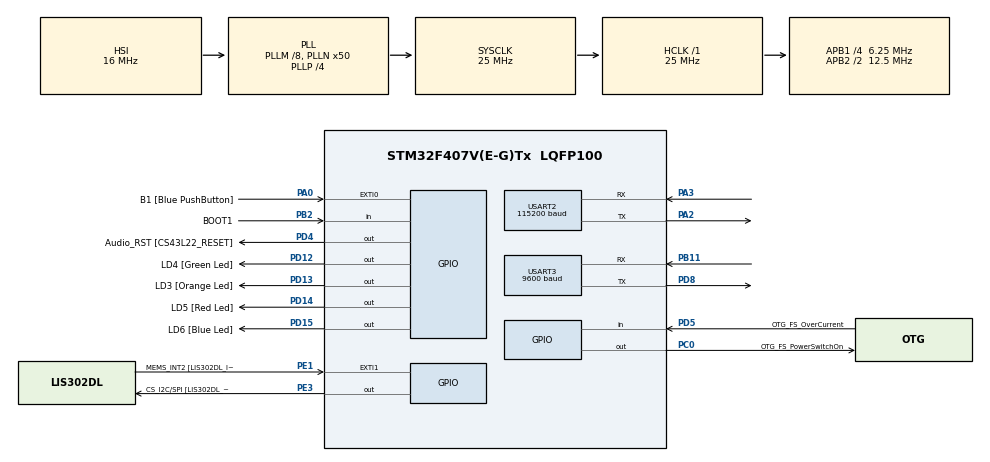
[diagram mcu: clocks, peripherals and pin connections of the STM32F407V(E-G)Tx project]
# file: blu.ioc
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Mcu.Family=STM32F4
Mcu.Name=STM32F407V(E-G)Tx
Mcu.Package=LQFP100
NVIC.PriorityGroup=NVIC_PRIORITYGROUP_0
PA0-WKUP.GPIO_Label=B1 [Blue PushButton]
PA0-WKUP.Signal=GPXTI0
PA10.GPIO_Label=OTG_FS_ID
PA10.GPIO_Mode=GPIO_MODE_AF_PP
PA10.GPIO_PuPd=GPIO_NOPULL
PA10.GPIO_Speed=GPIO_SPEED_FREQ_LOW
PA10.Signal=USB_OTG_FS_ID
PA11.GPIO_Label=OTG_FS_DM
PA11.GPIO_Mode=GPIO_MODE_AF_PP
PA11.GPIO_PuPd=GPIO_NOPULL
PA11.GPIO_Speed=GPIO_SPEED_FREQ_LOW
PA11.Signal=USB_OTG_FS_DM
PA12.GPIO_Label=OTG_FS_DP
PA12.GPIO_Mode=GPIO_MODE_AF_PP
PA12.GPIO_PuPd=GPIO_NOPULL
PA12.GPIO_Speed=GPIO_SPEED_FREQ_LOW
PA12.Signal=USB_OTG_FS_DP
PA13.GPIO_Label=SWDIO
PA13.Signal=SYS_JTMS-SWDIO
PA14.GPIO_Label=SWCLK
PA14.Signal=SYS_JTCK-SWCLK
PA2.Mode=Asynchronous
PA2.Signal=USART2_TX
PA3.Mode=Asynchronous
PA3.Signal=USART2_RX
PA4.GPIO_Label=I2S3_WS [CS43L22_LRCK]
PA4.GPIO_Mode=GPIO_MODE_AF_PP
PA4.GPIO_PuPd=GPIO_NOPULL
PA4.GPIO_Speed=GPIO_SPEED_FREQ_LOW
PA4.Signal=I2S3_WS
PA5.GPIO_Label=SPI1_SCK [LIS302DL_SCL/SPC]
PA5.GPIO_Mode=GPIO_MODE_AF_PP
PA5.GPIO_PuPd=GPIO_NOPULL
PA5.GPIO_Speed=GPIO_SPEED_FREQ_LOW
PA5.Signal=SPI1_SCK
PA6.GPIO_Label=SPI1_MISO [LIS302DL_SDO]
PA6.GPIO_Mode=GPIO_MODE_AF_PP
PA6.GPIO_PuPd=GPIO_NOPULL
PA6.GPIO_Speed=GPIO_SPEED_FREQ_LOW
PA6.Signal=SPI1_MISO
PA7.GPIO_Label=SPI1_MOSI [LIS302DL_SDA/SDI/SDO]
PA7.GPIO_Mode=GPIO_MODE_AF_PP
PA7.GPIO_PuPd=GPIO_NOPULL
PA7.GPIO_Speed=GPIO_SPEED_FREQ_LOW
PA7.Signal=SPI1_MOSI
PA9.GPIO_Label=VBUS_FS
PA9.GPIO_Mode=GPIO_MODE_INPUT
PA9.GPIO_PuPd=GPIO_NOPULL
PA9.Signal=USB_OTG_FS_VBUS
PB10.GPIO_Label=CLK_IN [MP45DT02_CLK]
PB10.GPIO_Mode=GPIO_MODE_AF_PP
PB10.GPIO_PuPd=GPIO_NOPULL
PB10.GPIO_Speed=GPIO_SPEED_FREQ_LOW
PB10.Signal=I2S2_CK
PB11.Mode=Asynchronous
PB11.Signal=USART3_RX
PB2.GPIO_Label=BOOT1
PB2.GPIO_Mode=GPIO_MODE_INPUT
PB2.GPIO_PuPd=GPIO_NOPULL
PB2.Signal=GPIO_Input
PB3.GPIO_Label=SWO
PB3.Signal=SYS_JTDO-SWO
PB6.GPIO_Label=Audio_SCL [CS43L22_SCL]
PB6.GPIO_Mode=GPIO_MODE_AF_OD
PB6.GPIO_PuPd=GPIO_NOPULL
PB6.GPIO_Speed=GPIO_SPEED_FREQ_LOW
PB6.Signal=I2C1_SCL
PB9.GPIO_Label=Audio_SDA [CS43L22_SDA]
PB9.GPIO_Mode=GPIO_MODE_AF_OD
PB9.GPIO_PuPd=GPIO_NOPULL
PB9.GPIO_Speed=GPIO_SPEED_FREQ_LOW
PB9.Signal=I2C1_SDA
PC0.GPIO_Label=OTG_FS_PowerSwitchOn
PC0.GPIO_PuPd=GPIO_NOPULL
PC0.GPIO_Speed=GPIO_SPEED_FREQ_LOW
PC0.PinState=GPIO_PIN_SET
PC0.Signal=GPIO_Output
PC10.GPIO_Label=I2S3_SCK [CS43L22_SCLK]
PC10.GPIO_Mode=GPIO_MODE_AF_PP
PC10.GPIO_PuPd=GPIO_NOPULL
PC10.GPIO_Speed=GPIO_SPEED_FREQ_LOW
PC10.Signal=I2S3_CK
PC12.GPIO_Label=I2S3_SD [CS43L22_SDIN]
PC12.GPIO_Mode=GPIO_MODE_AF_PP
PC12.GPIO_PuPd=GPIO_NOPULL
PC12.GPIO_Speed=GPIO_SPEED_FREQ_LOW
PC12.Signal=I2S3_SD
PC14-OSC32_IN.GPIO_Label=PC14-OSC32_IN
PC14-OSC32_IN.Signal=RCC_OSC32_IN
PC15-OSC32_OUT.GPIO_Label=PC15-OSC32_OUT
PC15-OSC32_OUT.Signal=RCC_OSC32_OUT
PC3.GPIO_Label=PDM_OUT [MP45DT02_DOUT]
PC3.GPIO_Mode=GPIO_MODE_AF_PP
PC3.GPIO_PuPd=GPIO_NOPULL
PC3.GPIO_Speed=GPIO_SPEED_FREQ_LOW
PC3.Signal=I2S2_SD
PC7.GPIO_Label=I2S3_MCK [CS43L22_MCLK]
PC7.GPIO_Mode=GPIO_MODE_AF_PP
PC7.GPIO_PuPd=GPIO_NOPULL
PC7.GPIO_Speed=GPIO_SPEED_FREQ_LOW
PC7.Signal=I2S3_MCK
PD12.GPIO_Label=LD4 [Green Led]
PD12.GPIO_PuPd=GPIO_NOPULL
PD12.GPIO_Speed=GPIO_SPEED_FREQ_LOW
PD12.Signal=GPIO_Output
PD13.GPIO_Label=LD3 [Orange Led]
PD13.GPIO_PuPd=GPIO_NOPULL
PD13.GPIO_Speed=GPIO_SPEED_FREQ_LOW
PD13.Signal=GPIO_Output
PD14.GPIO_Label=LD5 [Red Led]
PD14.GPIO_PuPd=GPIO_NOPULL
PD14.GPIO_Speed=GPIO_SPEED_FREQ_LOW
PD14.Signal=GPIO_Output
PD15.GPIO_Label=LD6 [Blue Led]
PD15.GPIO_PuPd=GPIO_NOPULL
PD15.GPIO_Speed=GPIO_SPEED_FREQ_LOW
PD15.Signal=GPIO_Output
PD4.GPIO_Label=Audio_RST [CS43L22_RESET]
PD4.GPIO_PuPd=GPIO_NOPULL
PD4.GPIO_Speed=GPIO_SPEED_FREQ_LOW
PD4.Signal=GPIO_Output
PD5.GPIO_Label=OTG_FS_OverCurrent
PD5.GPIO_Mode=GPIO_MODE_INPUT
PD5.GPIO_PuPd=GPIO_NOPULL
PD5.Signal=GPIO_Input
PD8.Mode=Asynchronous
PD8.Signal=USART3_TX
PE1.GPIO_Label=MEMS_INT2 [LIS302DL_INT2]
PE1.GPIO_ModeDefaultEXTI=GPIO_MODE_EVT_RISING
PE1.GPIO_PuPd=GPIO_NOPULL
PE1.Signal=GPXTI1
PE3.GPIO_Label=CS_I2C/SPI [LIS302DL_CS_I2C/SPI]
PE3.GPIO_PuPd=GPIO_NOPULL
PE3.GPIO_Speed=GPIO_SPEED_FREQ_LOW
PE3.Signal=GPIO_Output
PH0-OSC_IN.GPIO_Label=PH0-OSC_IN
PH0-OSC_IN.Signal=RCC_OSC_IN
PH1-OSC_OUT.GPIO_Label=PH1-OSC_OUT
PH1-OSC_OUT.Signal=RCC_OSC_OUT
ProjectManager.HeapSize=0x200
ProjectManager.StackSize=0x400
ProjectManager.TargetToolchain=SW4STM32
RCC.48MHZClocksFreq_Value=14285714.285714285
RCC.AHBFreq_Value=25000000
RCC.APB1CLKDivider=RCC_HCLK_DIV4
RCC.APB1Freq_Value=6250000
RCC.APB1TimFreq_Value=12500000
RCC.APB2CLKDivider=RCC_HCLK_DIV2
RCC.APB2Freq_Value=12500000
RCC.APB2TimFreq_Value=25000000
RCC.CortexFreq_Value=25000000
RCC.HCLKFreq_Value=25000000
RCC.HSE_VALUE=8000000
RCC.HSI_VALUE=16000000
RCC.LSE_VALUE=32768
RCC.PLLM=8
RCC.PLLN=50
RCC.PLLP=RCC_PLLP_DIV4
RCC.PLLQ=7
RCC.SYSCLKFreq_VALUE=25000000
RCC.SYSCLKSource=RCC_SYSCLKSOURCE_PLLCLK
RCC.VCOOutputFreq_Value=100000000
USART2.BaudRate=115200
USART2.VirtualMode=VM_ASYNC
USART3.BaudRate=9600
USART3.VirtualMode=VM_ASYNC
board=STM32F4DISCOVERY

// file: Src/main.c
/**
  ******************************************************************************
  * File Name          : main.c
  * Description        : Main program body
  ******************************************************************************
  ** This notice applies to any and all portions of this file
  * that are not between comment pairs USER CODE BEGIN and
  * USER CODE END. Other portions of this file, whether
  * inserted by the user or by software development tools
  * are owned by their respective copyright owners.
  *
  * COPYRIGHT(c) 2017 STMicroelectronics
  *
  * Redistribution and use in source and binary forms, with or without modification,
  * are permitted provided that the following conditions are met:
  *   1. Redistributions of source code must retain the above copyright notice,
  *      this list of conditions and the following disclaimer.
  *   2. Redistributions in binary form must reproduce the above copyright notice,
  *      this list of conditions and the following disclaimer in the documentation
  *      and/or other materials provided with the distribution.
  *   3. Neither the name of STMicroelectronics nor the names of its contributors
  *      may be used to endorse or promote products derived from this software
  *      without specific prior written permission.
  *
  * THIS SOFTWARE IS PROVIDED BY THE COPYRIGHT HOLDERS AND CONTRIBUTORS "AS IS"
  * AND ANY EXPRESS OR IMPLIED WARRANTIES, INCLUDING, BUT NOT LIMITED TO, THE
  * IMPLIED WARRANTIES OF MERCHANTABILITY AND FITNESS FOR A PARTICULAR PURPOSE ARE
  * DISCLAIMED. IN NO EVENT SHALL THE COPYRIGHT HOLDER OR CONTRIBUTORS BE LIABLE
  * FOR ANY DIRECT, INDIRECT, INCIDENTAL, SPECIAL, EXEMPLARY, OR CONSEQUENTIAL
  * DAMAGES (INCLUDING, BUT NOT LIMITED TO, PROCUREMENT OF SUBSTITUTE GOODS OR
  * SERVICES; LOSS OF USE, DATA, OR PROFITS; OR BUSINESS INTERRUPTION) HOWEVER
  * CAUSED AND ON ANY THEORY OF LIABILITY, WHETHER IN CONTRACT, STRICT LIABILITY,
  * OR TORT (INCLUDING NEGLIGENCE OR OTHERWISE) ARISING IN ANY WAY OUT OF THE USE
  * OF THIS SOFTWARE, EVEN IF ADVISED OF THE POSSIBILITY OF SUCH DAMAGE.
  *
  ******************************************************************************
  */

#include "main.h"
#include "stm32f4xx_hal.h"

UART_HandleTypeDef huart2;
UART_HandleTypeDef huart3;

/* USER CODE BEGIN PV */
/* Private variables ---------------------------------------------------------*/

/* USER CODE END PV */

void SystemClock_Config(void);
static void MX_GPIO_Init(void);
static void MX_USART2_UART_Init(void);
static void MX_USART3_UART_Init(void);

/* USER CODE BEGIN PFP */
/* Private function prototypes -----------------------------------------------*/

/* USER CODE END PFP */

int main(void)
{

  /* MCU Configuration----------------------------------------------------------*/

  /* Reset of all peripherals, Initializes the Flash interface and the Systick. */
  HAL_Init();

  /* Configure the system clock */
  SystemClock_Config();

  /* Initialize all configured peripherals */
  MX_GPIO_Init();
  MX_USART2_UART_Init();
  MX_USART3_UART_Init();

  /* USER CODE BEGIN 2 */
  char* AT_CMD;
  char AT_STATUS[] = "AT";
  char OPEN_DOOR[] = "OPEN";
  char CLOSE_DOOR[] = "CLOSE";
  char FAIL[] = "FAIL";
  char buff = 0;
  char buff2 = '0';

  /* USER CODE END 2 */

  /* Infinite loop */
  while (1)
  {

  /* USER CODE BEGIN 3 */

	  /*HAL_UART_Receive(&huart3, &buff, 100, 100);		//instruction from nodemcu

	  if(strcmp(buff,"DELETE")==0) {
		  AT_CMD = "AT+RMAAD";							//Delete All Authenticated Device
	  } else if(strcmp(buff,"COUNT")==0) {
		  AT_CMD = "AT+ADCN?";							//return Authenticated Device Count
	  } else if(strcmp(buff,"LAST")==0) {
		  AT_CMD = "AT+MRAD?";							//return Most Recently Used Authenticated Device
	  } else if(strcmp(buff,"GETPW")==0) {
		  AT_CMD = "AT+ PSWD?";							//return current password
	  } else if(strcmp(buff,"SETPW")==0) {
	  	  HAL_UART_Receive(&huart3, &buff, 100, 100);
		  AT_CMD = "AT+ PSWD=" + buff;					//set password to buff
	  }  else {}

	  HAL_UART_Transmit(&huart2, AT_CMD, 100, 100);
	  HAL_UART_Receive(&huart2, &buff2, 100, 100);
	  HAL_UART_Transmit(&huart3, buff2, 100, 100);*/

	  HAL_GPIO_TogglePin(GPIOD, GPIO_PIN_13);

	  if(HAL_UART_Receive(&huart3, &buff, 1, 100)==HAL_OK)
	  {
		  HAL_UART_Transmit(&huart2, OPEN_DOOR, 4, 100);
		  HAL_GPIO_WritePin(GPIOD, GPIO_PIN_12, GPIO_PIN_SET);		//green led (unlocked)
		  HAL_GPIO_WritePin(GPIOD, GPIO_PIN_14, GPIO_PIN_RESET);
		  HAL_Delay(5000);
	  }
	  else
	  {
		  HAL_UART_Transmit(&huart2, CLOSE_DOOR, 5, 100);
		  HAL_GPIO_WritePin(GPIOD, GPIO_PIN_12, GPIO_PIN_RESET);	//red led (locked)
		  HAL_GPIO_WritePin(GPIOD, GPIO_PIN_14, GPIO_PIN_SET);
	  }
	  //HAL_UART_Transmit(&huart2, buff, 1, 100);

	  HAL_Delay(1000);

	  /*if(HAL_UART_Transmit(&huart3, AT_STATUS, 2, 100)==HAL_OK) {
		  HAL_GPIO_TogglePin(GPIOD, GPIO_PIN_13);
		  if(HAL_UART_Receive(&huart3, &buff2[0], 10, 100)==HAL_OK) {
			  HAL_UART_Transmit(&huart2, buff2[0], 10, 100);
			  HAL_GPIO_WritePin(GPIOD, GPIO_PIN_15, GPIO_PIN_SET);
		  }
		  else {
			  HAL_GPIO_WritePin(GPIOD, GPIO_PIN_15, GPIO_PIN_RESET);
		  }
		  //if(strcmp(buff2,"OK")==0) {
		  bif(buff2=='K') {
			  HAL_GPIO_WritePin(GPIOD, GPIO_PIN_12, GPIO_PIN_SET);		//paired => green led (unlocked)
			  HAL_GPIO_WritePin(GPIOD, GPIO_PIN_14, GPIO_PIN_RESET);
			  buff2 = '0';
		  } else {
			  HAL_GPIO_WritePin(GPIOD, GPIO_PIN_12, GPIO_PIN_RESET);	//not paired => red led (locked)
			  HAL_GPIO_WritePin(GPIOD, GPIO_PIN_14, GPIO_PIN_SET);
		  }
	  }*/

  }
  /* USER CODE END 3 */

}

/** System Clock Configuration
*/
void SystemClock_Config(void)
{

  RCC_OscInitTypeDef RCC_OscInitStruct;
  RCC_ClkInitTypeDef RCC_ClkInitStruct;

    /**Configure the main internal regulator output voltage
    */
  __HAL_RCC_PWR_CLK_ENABLE();

  __HAL_PWR_VOLTAGESCALING_CONFIG(PWR_REGULATOR_VOLTAGE_SCALE1);

    /**Initializes the CPU, AHB and APB busses clocks
    */
  RCC_OscInitStruct.OscillatorType = RCC_OSCILLATORTYPE_HSI;
  RCC_OscInitStruct.HSIState = RCC_HSI_ON;
  RCC_OscInitStruct.HSICalibrationValue = 16;
  RCC_OscInitStruct.PLL.PLLState = RCC_PLL_ON;
  RCC_OscInitStruct.PLL.PLLSource = RCC_PLLSOURCE_HSI;
  RCC_OscInitStruct.PLL.PLLM = 8;
  RCC_OscInitStruct.PLL.PLLN = 50;
  RCC_OscInitStruct.PLL.PLLP = RCC_PLLP_DIV4;
  RCC_OscInitStruct.PLL.PLLQ = 7;
  if (HAL_RCC_OscConfig(&RCC_OscInitStruct) != HAL_OK)
  {
    _Error_Handler(__FILE__, __LINE__);
  }

    /**Initializes the CPU, AHB and APB busses clocks
    */
  RCC_ClkInitStruct.ClockType = RCC_CLOCKTYPE_HCLK|RCC_CLOCKTYPE_SYSCLK
                              |RCC_CLOCKTYPE_PCLK1|RCC_CLOCKTYPE_PCLK2;
  RCC_ClkInitStruct.SYSCLKSource = RCC_SYSCLKSOURCE_PLLCLK;
  RCC_ClkInitStruct.AHBCLKDivider = RCC_SYSCLK_DIV1;
  RCC_ClkInitStruct.APB1CLKDivider = RCC_HCLK_DIV4;
  RCC_ClkInitStruct.APB2CLKDivider = RCC_HCLK_DIV2;

  if (HAL_RCC_ClockConfig(&RCC_ClkInitStruct, FLASH_LATENCY_0) != HAL_OK)
  {
    _Error_Handler(__FILE__, __LINE__);
  }

    /**Configure the Systick interrupt time
    */
  HAL_SYSTICK_Config(HAL_RCC_GetHCLKFreq()/1000);

    /**Configure the Systick
    */
  HAL_SYSTICK_CLKSourceConfig(SYSTICK_CLKSOURCE_HCLK);

  /* SysTick_IRQn interrupt configuration */
  HAL_NVIC_SetPriority(SysTick_IRQn, 0, 0);
}

/* USART2 init function */
static void MX_USART2_UART_Init(void)
{

  huart2.Instance = USART2;
  huart2.Init.BaudRate = 115200;
  huart2.Init.WordLength = UART_WORDLENGTH_8B;
  huart2.Init.StopBits = UART_STOPBITS_1;
  huart2.Init.Parity = UART_PARITY_NONE;
  huart2.Init.Mode = UART_MODE_TX_RX;
  huart2.Init.HwFlowCtl = UART_HWCONTROL_NONE;
  huart2.Init.OverSampling = UART_OVERSAMPLING_16;
  if (HAL_UART_Init(&huart2) != HAL_OK)
  {
    _Error_Handler(__FILE__, __LINE__);
  }

}

/* USART3 init function */
static void MX_USART3_UART_Init(void)
{

  huart3.Instance = USART3;
  huart3.Init.BaudRate = 9600;
  huart3.Init.WordLength = UART_WORDLENGTH_8B;
  huart3.Init.StopBits = UART_STOPBITS_1;
  huart3.Init.Parity = UART_PARITY_NONE;
  huart3.Init.Mode = UART_MODE_TX_RX;
  huart3.Init.HwFlowCtl = UART_HWCONTROL_NONE;
  huart3.Init.OverSampling = UART_OVERSAMPLING_16;
  if (HAL_UART_Init(&huart3) != HAL_OK)
  {
    _Error_Handler(__FILE__, __LINE__);
  }

}

/** Configure pins as
        * Analog
        * Input
        * Output
        * EVENT_OUT
        * EXTI
     PC3   ------> I2S2_SD
     PA4   ------> I2S3_WS
     PA5   ------> SPI1_SCK
     PA6   ------> SPI1_MISO
     PA7   ------> SPI1_MOSI
     PB10   ------> I2S2_CK
     PC7   ------> I2S3_MCK
     PA9   ------> USB_OTG_FS_VBUS
     PA10   ------> USB_OTG_FS_ID
     PA11   ------> USB_OTG_FS_DM
     PA12   ------> USB_OTG_FS_DP
     PC10   ------> I2S3_CK
     PC12   ------> I2S3_SD
     PB6   ------> I2C1_SCL
     PB9   ------> I2C1_SDA
*/
static void MX_GPIO_Init(void)
{

  GPIO_InitTypeDef GPIO_InitStruct;

  /* GPIO Ports Clock Enable */
  __HAL_RCC_GPIOE_CLK_ENABLE();
  __HAL_RCC_GPIOC_CLK_ENABLE();
  __HAL_RCC_GPIOH_CLK_ENABLE();
  __HAL_RCC_GPIOA_CLK_ENABLE();
  __HAL_RCC_GPIOB_CLK_ENABLE();
  __HAL_RCC_GPIOD_CLK_ENABLE();

  /*Configure GPIO pin Output Level */
  HAL_GPIO_WritePin(CS_I2C_SPI_GPIO_Port, CS_I2C_SPI_Pin, GPIO_PIN_RESET);

  /*Configure GPIO pin Output Level */
  HAL_GPIO_WritePin(OTG_FS_PowerSwitchOn_GPIO_Port, OTG_FS_PowerSwitchOn_Pin, GPIO_PIN_SET);

  /*Configure GPIO pin Output Level */
  HAL_GPIO_WritePin(GPIOD, LD4_Pin|LD3_Pin|LD5_Pin|LD6_Pin
                          |Audio_RST_Pin, GPIO_PIN_RESET);

  /*Configure GPIO pin : CS_I2C_SPI_Pin */
  GPIO_InitStruct.Pin = CS_I2C_SPI_Pin;
  GPIO_InitStruct.Mode = GPIO_MODE_OUTPUT_PP;
  GPIO_InitStruct.Pull = GPIO_NOPULL;
  GPIO_InitStruct.Speed = GPIO_SPEED_FREQ_LOW;
  HAL_GPIO_Init(CS_I2C_SPI_GPIO_Port, &GPIO_InitStruct);

  /*Configure GPIO pin : OTG_FS_PowerSwitchOn_Pin */
  GPIO_InitStruct.Pin = OTG_FS_PowerSwitchOn_Pin;
  GPIO_InitStruct.Mode = GPIO_MODE_OUTPUT_PP;
  GPIO_InitStruct.Pull = GPIO_NOPULL;
  GPIO_InitStruct.Speed = GPIO_SPEED_FREQ_LOW;
  HAL_GPIO_Init(OTG_FS_PowerSwitchOn_GPIO_Port, &GPIO_InitStruct);

  /*Configure GPIO pin : PDM_OUT_Pin */
  GPIO_InitStruct.Pin = PDM_OUT_Pin;
  GPIO_InitStruct.Mode = GPIO_MODE_AF_PP;
  GPIO_InitStruct.Pull = GPIO_NOPULL;
  GPIO_InitStruct.Speed = GPIO_SPEED_FREQ_LOW;
  GPIO_InitStruct.Alternate = GPIO_AF5_SPI2;
  HAL_GPIO_Init(PDM_OUT_GPIO_Port, &GPIO_InitStruct);

  /*Configure GPIO pin : B1_Pin */
  GPIO_InitStruct.Pin = B1_Pin;
  GPIO_InitStruct.Mode = GPIO_MODE_IT_RISING;
  GPIO_InitStruct.Pull = GPIO_NOPULL;
  HAL_GPIO_Init(B1_GPIO_Port, &GPIO_InitStruct);

  /*Configure GPIO pin : I2S3_WS_Pin */
  GPIO_InitStruct.Pin = I2S3_WS_Pin;
  GPIO_InitStruct.Mode = GPIO_MODE_AF_PP;
  GPIO_InitStruct.Pull = GPIO_NOPULL;
  GPIO_InitStruct.Speed = GPIO_SPEED_FREQ_LOW;
  GPIO_InitStruct.Alternate = GPIO_AF6_SPI3;
  HAL_GPIO_Init(I2S3_WS_GPIO_Port, &GPIO_InitStruct);

  /*Configure GPIO pins : SPI1_SCK_Pin SPI1_MISO_Pin SPI1_MOSI_Pin */
  GPIO_InitStruct.Pin = SPI1_SCK_Pin|SPI1_MISO_Pin|SPI1_MOSI_Pin;
  GPIO_InitStruct.Mode = GPIO_MODE_AF_PP;
  GPIO_InitStruct.Pull = GPIO_NOPULL;
  GPIO_InitStruct.Speed = GPIO_SPEED_FREQ_LOW;
  GPIO_InitStruct.Alternate = GPIO_AF5_SPI1;
  HAL_GPIO_Init(GPIOA, &GPIO_InitStruct);

  /*Configure GPIO pin : BOOT1_Pin */
  GPIO_InitStruct.Pin = BOOT1_Pin;
  GPIO_InitStruct.Mode = GPIO_MODE_INPUT;
  GPIO_InitStruct.Pull = GPIO_NOPULL;
  HAL_GPIO_Init(BOOT1_GPIO_Port, &GPIO_InitStruct);

  /*Configure GPIO pin : CLK_IN_Pin */
  GPIO_InitStruct.Pin = CLK_IN_Pin;
  GPIO_InitStruct.Mode = GPIO_MODE_AF_PP;
  GPIO_InitStruct.Pull = GPIO_NOPULL;
  GPIO_InitStruct.Speed = GPIO_SPEED_FREQ_LOW;
  GPIO_InitStruct.Alternate = GPIO_AF5_SPI2;
  HAL_GPIO_Init(CLK_IN_GPIO_Port, &GPIO_InitStruct);

  /*Configure GPIO pins : LD4_Pin LD3_Pin LD5_Pin LD6_Pin
                           Audio_RST_Pin */
  GPIO_InitStruct.Pin = LD4_Pin|LD3_Pin|LD5_Pin|LD6_Pin
                          |Audio_RST_Pin;
  GPIO_InitStruct.Mode = GPIO_MODE_OUTPUT_PP;
  GPIO_InitStruct.Pull = GPIO_NOPULL;
  GPIO_InitStruct.Speed = GPIO_SPEED_FREQ_LOW;
  HAL_GPIO_Init(GPIOD, &GPIO_InitStruct);

  /*Configure GPIO pins : I2S3_MCK_Pin I2S3_SCK_Pin I2S3_SD_Pin */
  GPIO_InitStruct.Pin = I2S3_MCK_Pin|I2S3_SCK_Pin|I2S3_SD_Pin;
  GPIO_InitStruct.Mode = GPIO_MODE_AF_PP;
  GPIO_InitStruct.Pull = GPIO_NOPULL;
  GPIO_InitStruct.Speed = GPIO_SPEED_FREQ_LOW;
  GPIO_InitStruct.Alternate = GPIO_AF6_SPI3;
  HAL_GPIO_Init(GPIOC, &GPIO_InitStruct);

  /*Configure GPIO pin : VBUS_FS_Pin */
  GPIO_InitStruct.Pin = VBUS_FS_Pin;
  GPIO_InitStruct.Mode = GPIO_MODE_INPUT;
  GPIO_InitStruct.Pull = GPIO_NOPULL;
  HAL_GPIO_Init(VBUS_FS_GPIO_Port, &GPIO_InitStruct);

  /*Configure GPIO pins : OTG_FS_ID_Pin OTG_FS_DM_Pin OTG_FS_DP_Pin */
  GPIO_InitStruct.Pin = OTG_FS_ID_Pin|OTG_FS_DM_Pin|OTG_FS_DP_Pin;
  GPIO_InitStruct.Mode = GPIO_MODE_AF_PP;
  GPIO_InitStruct.Pull = GPIO_NOPULL;
  GPIO_InitStruct.Speed = GPIO_SPEED_FREQ_LOW;
  GPIO_InitStruct.Alternate = GPIO_AF10_OTG_FS;
  HAL_GPIO_Init(GPIOA, &GPIO_InitStruct);

  /*Configure GPIO pin : OTG_FS_OverCurrent_Pin */
  GPIO_InitStruct.Pin = OTG_FS_OverCurrent_Pin;
  GPIO_InitStruct.Mode = GPIO_MODE_INPUT;
  GPIO_InitStruct.Pull = GPIO_NOPULL;
  HAL_GPIO_Init(OTG_FS_OverCurrent_GPIO_Port, &GPIO_InitStruct);

  /*Configure GPIO pins : Audio_SCL_Pin Audio_SDA_Pin */
  GPIO_InitStruct.Pin = Audio_SCL_Pin|Audio_SDA_Pin;
  GPIO_InitStruct.Mode = GPIO_MODE_AF_OD;
  GPIO_InitStruct.Pull = GPIO_PULLUP;
  GPIO_InitStruct.Speed = GPIO_SPEED_FREQ_LOW;
  GPIO_InitStruct.Alternate = GPIO_AF4_I2C1;
  HAL_GPIO_Init(GPIOB, &GPIO_InitStruct);

  /*Configure GPIO pin : MEMS_INT2_Pin */
  GPIO_InitStruct.Pin = MEMS_INT2_Pin;
  GPIO_InitStruct.Mode = GPIO_MODE_EVT_RISING;
  GPIO_InitStruct.Pull = GPIO_NOPULL;
  HAL_GPIO_Init(MEMS_INT2_GPIO_Port, &GPIO_InitStruct);

}

void _Error_Handler(char * file, int line)
{
  while(1)
  {
  }
}

/************************ (C) COPYRIGHT STMicroelectronics *****END OF FILE****/
